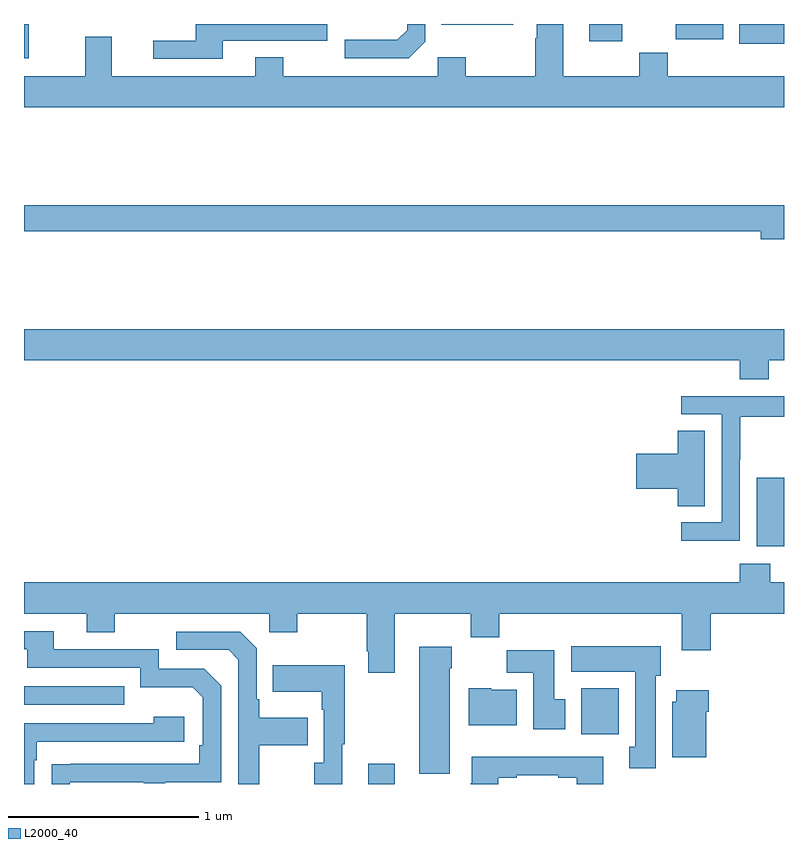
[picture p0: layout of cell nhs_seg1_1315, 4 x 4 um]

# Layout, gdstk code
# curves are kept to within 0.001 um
import gdstk
lib = gdstk.Library(unit=1e-6, precision=1e-09)
def R(c, l, rs):  # rectangles x0, y0, x1, y1
    for r in rs: c.add(gdstk.rectangle(r[:2], r[2:], *l))
def P(c, l, *ps):  # polygons
    for p in ps: c.add(gdstk.Polygon(p, *l))
L2000_40 = (2000, 40)

nhs_seg1_1315 = lib.new_cell('nhs_seg1_1315')
R(nhs_seg1_1315, L2000_40, [(184.811,520.199,184.951,520.306), (185.933,520.46,186.13,520.702), (183,520.617,183.527,520.713), (186.857,521.45,187,521.811), (183,524.019,183.025,524.199), (186.764,524.096,187,524.199), (185.975,524.108,186.148,524.199), (186.43,524.118,186.679,524.199), (185.197,524.195,185.575,524.199)])
P(nhs_seg1_1315, L2000_40, [(187,523.924),(186.389,523.924),(186.389,524.048),(186.238,524.048),(186.238,523.924),(185.839,523.924),(185.839,524.199),(185.699,524.199),(185.699,524.123),(185.692,524.123),(185.692,523.924),(185.325,523.924),(185.325,524.023),(185.178,524.023),(185.178,523.924),(184.365,523.924),(184.365,524.023),(184.217,524.023),(184.217,523.924),(183.463,523.924),(183.463,524.132),(183.323,524.132),(183.323,523.924),(183,523.924),(183,523.76),(187,523.76)],
  [(184.045,524.112),(184.596,524.112),(184.596,524.199),(183.905,524.199),(183.905,524.112),(183.681,524.112),(183.681,524.016),(184.045,524.016)],
  [(185.112,524.106),(185.112,524.199),(185.016,524.199),(185.016,524.166),(184.965,524.115),(184.689,524.115),(184.689,524.019),(185.025,524.019)],
  [(187,523.244),(183,523.244),(183,523.108),(186.878,523.108),(186.878,523.066),(187,523.066)],
  [(186.919,522.428),(187,522.428),(187,522.592),(183,522.592),(183,522.428),(186.767,522.428),(186.767,522.329),(186.919,522.329)],
  [(186.768,521.908),(186.771,521.908),(186.771,522.132),(187,522.132),(187,522.24),(186.459,522.24),(186.459,522.144),(186.672,522.144),(186.672,521.577),(186.459,521.577),(186.459,521.479),(186.768,521.479)],
  [(186.583,522.059),(186.44,522.059),(186.44,521.936),(186.222,521.936),(186.222,521.753),(186.44,521.753),(186.44,521.662),(186.583,521.662)],
  [(184.951,521.096),(185.35,521.096),(185.35,520.972),(185.501,520.972),(185.501,521.096),(186.461,521.096),(186.461,520.902),(186.614,520.902),(186.614,521.096),(187,521.096),(187,521.26),(186.927,521.26),(186.927,521.359),(186.767,521.359),(186.767,521.26),(183,521.26),(183,521.096),(183.329,521.096),(183.329,520.997),(183.477,520.997),(183.477,521.096),(184.29,521.096),(184.29,520.997),(184.437,520.997),(184.437,521.096),(184.804,521.096),(184.804,520.897),(184.811,520.897),(184.811,520.785),(184.951,520.785)],
  [(183.241,520.209),(183.631,520.209),(183.631,520.204),(183.743,520.204),(183.743,520.209),(184.038,520.209),(184.038,520.716),(183.948,520.806),(183.708,520.806),(183.708,520.908),(183.157,520.908),(183.157,521.004),(183,521.004),(183,520.908),(183.017,520.908),(183.017,520.812),(183.612,520.812),(183.612,520.709),(183.889,520.709),(183.942,520.656),(183.942,520.402),(183.922,520.402),(183.922,520.305),(183.145,520.304),(183.145,520.199),(183.241,520.199)],
  [(184.237,520.402),(184.493,520.402),(184.493,520.549),(184.237,520.549),(184.237,520.645),(184.224,520.645),(184.224,520.914),(184.137,521.001),(183.801,521.001),(183.801,520.905),(184.077,520.905),(184.128,520.854),(184.128,520.199),(184.237,520.199)],
  [(186.325,520.77),(186.352,520.77),(186.352,520.924),(185.879,520.924),(185.879,520.79),(186.218,520.79),(186.218,520.394),(186.185,520.394),(186.185,520.281),(186.325,520.281)],
  [(185.242,520.808),(185.25,520.808),(185.25,520.921),(185.081,520.921),(185.081,520.254),(185.242,520.254)],
  [(185.848,520.644),(185.791,520.644),(185.791,520.903),(185.542,520.903),(185.542,520.784),(185.681,520.784),(185.681,520.488),(185.848,520.488)],
  [(184.675,520.409),(184.687,520.409),(184.687,520.825),(184.309,520.825),(184.309,520.685),(184.566,520.685),(184.566,520.589),(184.578,520.589),(184.578,520.31),(184.527,520.31),(184.527,520.199),(184.675,520.199)],
  [(185.593,520.696),(185.46,520.696),(185.46,520.702),(185.342,520.702),(185.342,520.508),(185.593,520.508)],
  [(186.592,520.58),(186.605,520.58),(186.605,520.693),(186.434,520.693),(186.434,520.632),(186.413,520.632),(186.413,520.34),(186.592,520.34)],
  [(183.054,520.325),(183.067,520.325),(183.067,520.422),(183.844,520.422),(183.844,520.552),(183.683,520.552),(183.683,520.518),(183,520.518),(183,520.199),(183.054,520.199)],
  [(185.497,520.233),(185.593,520.233),(185.593,520.245),(185.813,520.245),(185.813,520.233),(185.909,520.233),(185.909,520.199),(186.049,520.199),(186.049,520.342),(185.357,520.342),(185.357,520.203),(185.35,520.203),(185.35,520.199),(185.497,520.199)])

lib.write_gds('nhs_seg1_1315.gds')
